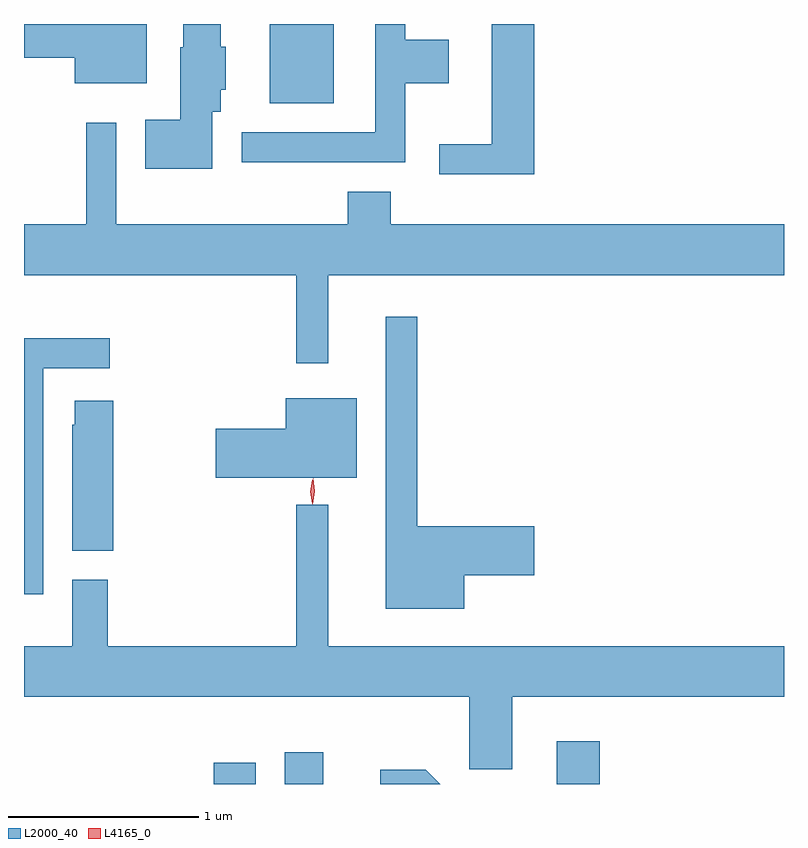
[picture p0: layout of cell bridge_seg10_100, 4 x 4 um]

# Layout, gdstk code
import gdstk
lib = gdstk.Library(unit=1e-6, precision=1e-09)
def R(c, l, rs):  # rectangles x0, y0, x1, y1
    for r in rs: c.add(gdstk.rectangle(r[:2], r[2:], *l))
def P(c, l, *ps):  # polygons
    for p in ps: c.add(gdstk.Polygon(p, *l))
L2000_40 = (2000, 40)
L4165_0 = (4165, 0)

bridge_seg10_100 = lib.new_cell('bridge_seg10_100')
R(bridge_seg10_100, L2000_40, [(1547.286,2144.538,1547.509,2144.649), (1547.661,2144.538,1547.864,2144.704), (1549.091,2144.538,1549.319,2144.764), (1547.581,2148.121,1547.919,2148.538)])
P(bridge_seg10_100, L2000_40, [(1548.294,2148.226),(1548.524,2148.226),(1548.524,2148.454),(1548.294,2148.454),(1548.294,2148.538),(1548.136,2148.538),(1548.136,2147.969),(1547.433,2147.969),(1547.433,2147.811),(1548.294,2147.811)],
  [(1547.279,2148.076),(1547.324,2148.076),(1547.324,2148.191),(1547.349,2148.191),(1547.349,2148.419),(1547.324,2148.419),(1547.324,2148.538),(1547.126,2148.538),(1547.126,2148.415),(1547.111,2148.415),(1547.111,2148.034),(1546.926,2148.034),(1546.926,2147.776),(1547.279,2147.776)],
  [(1548.974,2148.538),(1548.751,2148.538),(1548.751,2147.904),(1548.473,2147.904),(1548.473,2147.746),(1548.974,2147.746)],
  [(1546.934,2148.538),(1546.288,2148.538),(1546.288,2148.361),(1546.556,2148.361),(1546.556,2148.226),(1546.934,2148.226)],
  [(1547.889,2147.216),(1550.288,2147.216),(1550.288,2147.484),(1548.219,2147.484),(1548.219,2147.654),(1547.991,2147.654),(1547.991,2147.484),(1546.774,2147.484),(1546.774,2148.018),(1546.616,2148.018),(1546.616,2147.484),(1546.288,2147.484),(1546.288,2147.216),(1547.721,2147.216),(1547.721,2146.753),(1547.889,2146.753)],
  [(1548.604,2145.636),(1548.974,2145.636),(1548.974,2145.894),(1548.359,2145.894),(1548.359,2146.998),(1548.191,2146.998),(1548.191,2145.461),(1548.604,2145.461)],
  [(1546.389,2146.726),(1546.738,2146.726),(1546.738,2146.884),(1546.288,2146.884),(1546.288,2145.536),(1546.389,2145.536)],
  [(1548.039,2146.569),(1547.666,2146.569),(1547.666,2146.409),(1547.296,2146.409),(1547.296,2146.151),(1548.039,2146.151)],
  [(1546.759,2146.554),(1546.556,2146.554),(1546.556,2146.43),(1546.541,2146.43),(1546.541,2145.766),(1546.759,2145.766)],
  [(1548.859,2144.996),(1550.288,2144.996),(1550.288,2145.264),(1547.889,2145.264),(1547.889,2146.008),(1547.721,2146.008),(1547.721,2145.264),(1546.729,2145.264),(1546.729,2145.614),(1546.541,2145.614),(1546.541,2145.264),(1546.288,2145.264),(1546.288,2144.996),(1548.631,2144.996),(1548.631,2144.616),(1548.859,2144.616)],
  [(1548.402,2144.614),(1548.163,2144.614),(1548.163,2144.538),(1548.478,2144.538)])
P(bridge_seg10_100, L4165_0, [(1547.805,2146.013),(1547.804,2146.014),(1547.795,2146.076),(1547.804,2146.14),(1547.805,2146.14),(1547.805,2146.14),(1547.815,2146.076),(1547.805,2146.014)],
  [(1547.808,2146.01),(1547.808,2146.01),(1547.799,2146.078),(1547.81,2146.146),(1547.81,2146.146),(1547.81,2146.146),(1547.819,2146.078),(1547.809,2146.01)])

lib.write_gds('bridge_seg10_100.gds')
